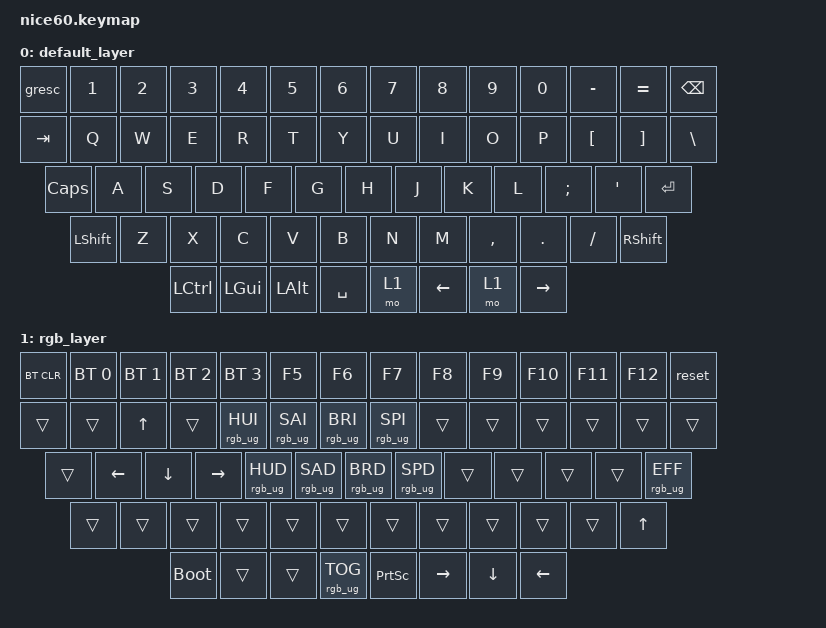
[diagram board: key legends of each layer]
/*
 * Copyright (c) 2021 Nick Winans
 *
 * SPDX-License-Identifier: MIT
 */

#include <behaviors.dtsi>
#include <dt-bindings/zmk/keys.h>
#include <dt-bindings/zmk/rgb.h>
#include <dt-bindings/zmk/bt.h>
#include <dt-bindings/zmk/outputs.h>
#include <dt-bindings/zmk/reset.h>
#include <dt-bindings/zmk/ext_power.h>

/ {
	keymap {
		compatible = "zmk,keymap";
		
		default_layer {
// ------------------------------------------------------------------------------------------
// | ESC |  1  |  2  |  3  |  4  |  5  |  6  |  7  |  8  |  9  |  0  |  -  |  =  |   BKSP   |
// | TAB  |  Q  |  W  |  E  |  R  |  T  |  Y  |  U  |  I  |  O  |  P  |  [  |  ]  |   "|"   |
// | CAPS  |  A  |  S  |  D  |  F  |  G  |  H  |  J  |  K  |  L  |  ;  |  '  |     ENTER    |
// |  SHIFT  |  Z  |  X  |  C  |  V  |  B  |  N  |  M  |  ,  |  .  |  /  |      SHIFT       |
// |  CTL  |  WIN  |  ALT  |            SPACE              |  MO(1) |  RIGHT  |  MO(1) |  LEFT  |
// ------------------------------------------------------------------------------------------
			bindings = <
	&gresc  &kp N1 &kp N2 &kp N3 &kp N4 &kp N5 &kp N6 &kp N7 &kp N8 &kp N9 &kp N0 &kp MINUS &kp EQUAL  &kp BSPC
	&kp TAB  &kp Q  &kp W  &kp E  &kp R  &kp T  &kp Y  &kp U  &kp I  &kp O  &kp P  &kp LBKT  &kp RBKT  &kp BSLH
	&kp CLCK  &kp A  &kp S  &kp D  &kp F  &kp G  &kp H  &kp J  &kp K  &kp L  &kp SEMI &kp SQT           &kp RET
	&kp LSHFT   &kp Z  &kp X  &kp C  &kp V  &kp B  &kp N  &kp M  &kp COMMA &kp DOT &kp FSLH           &kp RSHFT
	&kp LCTRL &kp LGUI &kp LALT             &kp SPACE                     &mo 1  &kp LEFT  &mo 1   &kp RIGHT
			>;
		};

		rgb_layer {
// ------------------------------------------------------------------------------------------------
// | BT CLR | BT 1  | BT 2 | BT 3 | BT 4 | F5  | F6  | F7  | F8  | F9  | F10  | F11 | F12 | RESET |
// |         |   |  UP |   | HUEUP | SATUP | BRIUP | SPDUP |   |     |    |     |     |           |
// |          | LT |  DN  | RT | HUEDN | SATDN | BRIDN | SPDDN |   |     |   |     |  EFFECT FORW |
// |             |     |      |      |     |     |     |     |     |     |     |        UP        |
// | BOOTLOADER |      |      |             TOG RGB                | PRT SCR |  RIGHT  | DOWN  | LEFT  |
// ------------------------------------------------------------------------------------------------
			bindings = <
	&bt BT_CLR   &bt BT_SEL 0    &bt BT_SEL 1    &bt BT_SEL 2  &bt BT_SEL 3          &kp F5          &kp F6          &kp F7          &kp F8   &kp F9   &kp F10  &kp F11 &kp F12  &reset
	&trans  &trans    &kp UP    &trans  &rgb_ug RGB_HUI  &rgb_ug RGB_SAI &rgb_ug RGB_BRI &rgb_ug RGB_SPI  &trans   &trans   &trans   &trans  &trans          &trans 
	&trans   &kp LEFT  &kp DOWN  &kp RIGHT &rgb_ug RGB_HUD &rgb_ug RGB_SAD &rgb_ug RGB_BRD &rgb_ug RGB_SPD &trans   &trans   &trans   &trans        &rgb_ug RGB_EFF
	&trans    &trans    &trans    &trans   &trans          &trans          &trans          &trans          &trans   &trans   &trans                         &kp UP
	&bootloader  &trans   &trans                            &rgb_ug RGB_TOG                                      &kp PSCRN      &kp RIGHT       &kp DOWN               &kp LEFT
			>;
		};
	};
};
